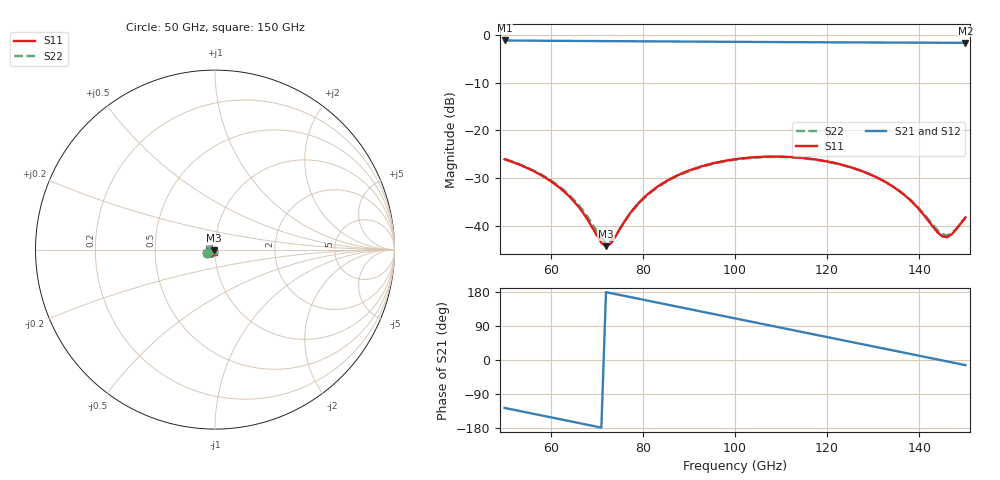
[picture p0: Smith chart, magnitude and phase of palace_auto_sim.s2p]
#  GHZ S DB R 50
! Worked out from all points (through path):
!   101 points, 50 GHz to 150 GHz, reference 50 ohm
!   highest |S21| = -1.09 dB at 50 GHz (marker M1); lowest = -1.6 dB at 150 GHz (marker M2)
!   group delay of S21, straight-line fit = 6.86 ps
!   lowest |S11| = -44.3 dB at 72 GHz (marker M3), VSWR 1.01, Z = 49.5 - j0.383 ohm
!   |S11| at or under -10 dB: start of sweep to end of sweep
!   |S22| runs from -43.4 to -25.6 dB; largest |S21 - S12| = 9.9e-14
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50  -26.05 -158.4  -1.09 -126.5  -1.09 -126.5  -25.99 -158.1
55  -27.95 -171.4  -1.13 -138.8  -1.13 -138.8  -27.85 -171.1
60  -30.66 177.3  -1.16 -151.2  -1.16 -151.2  -30.49 177.9
64  -33.84 171.4  -1.18 -161.1  -1.18 -161.1  -33.57 172.2
67  -37.29 171.9  -1.20 -168.5  -1.20 -168.5  -36.83 172.9
71  -43.59 -158.9  -1.22 -178.4  -1.22 -178.4  -42.58 -161.3
72  -44.32 -140.5  -1.23 179.1  -1.23 179.1  -43.39 -145.4
73  -43.81 -121.6  -1.23 176.6  -1.23 176.6  -43.20 -128.2
74  -42.41 -107.2  -1.24 174.2  -1.24 174.2  -42.15 -113.9
77  -37.71 -89.9  -1.26 166.7  -1.26 166.7  -37.84 -94.2
79  -35.32 -88.3  -1.27 161.8  -1.27 161.8  -35.49 -91.6
84  -31.29 -93.7  -1.29 149.4  -1.29 149.4  -31.44 -95.9
91  -28.08 -108.0  -1.33 132.1  -1.33 132.1  -28.20 -109.6
100  -26.05 -128.9  -1.38 109.8  -1.38 109.8  -26.14 -130.3
108  -25.49 -147.8  -1.42 90.1  -1.42 90.1  -25.57 -149.1
117  -26.04 -168.7  -1.47 67.9  -1.47 67.9  -26.10 -169.8
126  -28.01 171.8  -1.50 45.7  -1.50 45.7  -28.05 170.8
134  -31.63 158.2  -1.53 26.0  -1.53 26.0  -31.61 157.3
139  -35.59 156.3  -1.55 13.6  -1.55 13.6  -35.46 155.5
145  -42.27 -167.2  -1.57 -1.2  -1.57 -1.2  -41.82 -170.3
147  -41.86 -139.1  -1.58 -6.1  -1.58 -6.1  -41.61 -144.0
150  -38.28 -115.6  -1.59 -13.5  -1.59 -13.5  -38.36 -120.1
